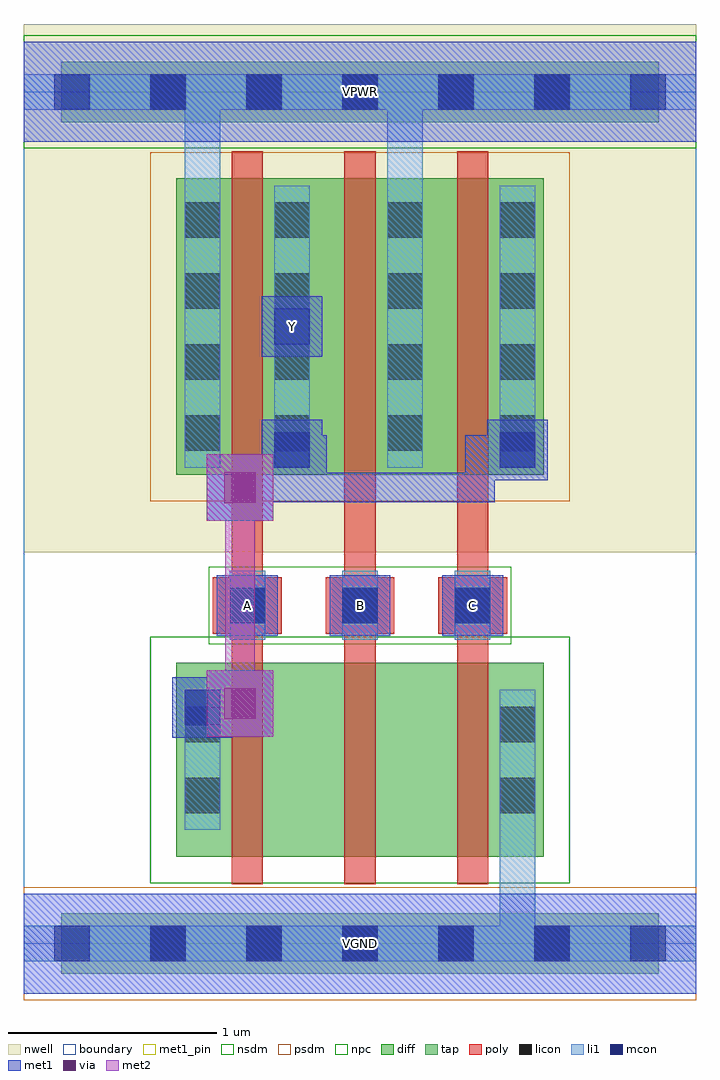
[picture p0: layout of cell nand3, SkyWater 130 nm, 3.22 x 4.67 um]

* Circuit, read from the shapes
.subckt nand3 A B C VGND VPWR Y
XM1 n1 A Y VGND sky130_fd_pr__nfet_01v8 w=0.93 l=0.15
XM2 n2 B n1 VGND sky130_fd_pr__nfet_01v8 w=0.93 l=0.15
XM3 VGND C n2 VGND sky130_fd_pr__nfet_01v8 w=0.93 l=0.15
XM4 Y A VPWR VPWR sky130_fd_pr__pfet_01v8 w=1.42 l=0.15
XM5 VPWR B Y VPWR sky130_fd_pr__pfet_01v8 w=1.42 l=0.15
XM6 Y C VPWR VPWR sky130_fd_pr__pfet_01v8 w=1.42 l=0.15
.ends

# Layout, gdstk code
import gdstk
lib = gdstk.Library(unit=1e-6, precision=1e-09)
def R(c, l, rs):  # rectangles x0, y0, x1, y1
    for r in rs: c.add(gdstk.rectangle(r[:2], r[2:], *l))
def A(c, l, x, y, w, h, nx, ny, dx, dy):  # array of equal rectangles
    R(c, l, [(x+i*dx, y+j*dy, x+i*dx+w, y+j*dy+h) for i in range(nx) for j in range(ny)])
nwell = (64, 20)
diff = (65, 20)
tap = (65, 44)
poly = (66, 20)
licon = (66, 44)
li1 = (67, 20)
mcon = (67, 44)
met1_pin = (68, 16)
met1 = (68, 20)
via = (68, 44)
met2 = (69, 20)
nsdm = (93, 44)
psdm = (94, 20)
npc = (95, 20)
boundary = (235, 4)

nand3 = lib.new_cell('nand3')
R(nand3, nwell, [(0,1.875,3.22,4.405)])
R(nand3, diff, [(0.73,0.415,2.49,1.345), (0.73,2.245,2.49,3.665)])
R(nand3, tap, [(0.18,-0.145,3.04,0.145), (0.18,3.935,3.04,4.225)])
A(nand3, poly, 0.995, 0.285, 0.15, 3.51, 3, 1, 0.54, 0)
A(nand3, poly, 0.905, 1.485, 0.33, 0.27, 3, 1, 0.54, 0)
A(nand3, licon, 0.605, -0.085, 0.17, 0.17, 5, 2, 0.46, 4.08)
A(nand3, licon, 0.985, 1.535, 0.17, 0.17, 3, 1, 0.54, 0)
A(nand3, licon, 0.77, 2.36, 0.17, 0.17, 1, 4, 0, 0.34)
A(nand3, licon, 1.2, 2.36, 0.17, 0.17, 3, 4, 0.54, 0.34)
R(nand3, licon, [(0.77,0.625,0.94,0.795), (2.28,0.625,2.45,0.795), (0.77,0.965,0.94,1.135), (2.28,0.965,2.45,1.135)])
A(nand3, li1, 0.985, 1.455, 0.17, 0.33, 3, 1, 0.54, 0)
A(nand3, li1, 1.2, 2.28, 0.17, 1.35, 3, 1, 0.54, 0)
R(nand3, li1, [(0,-0.085,3.22,0.085), (2.28,-0.085,2.45,1.215), (0.77,0.545,0.94,1.215), (2.28,0.545,2.45,1.215), (0.77,2.28,0.94,3.63), (0.77,2.28,0.94,4.165), (1.74,2.28,1.91,4.165), (0,3.995,3.22,4.165)])
A(nand3, mcon, 0.145, -0.085, 0.17, 0.17, 7, 2, 0.46, 4.08)
A(nand3, mcon, 0.985, 1.535, 0.17, 0.17, 3, 1, 0.54, 0)
R(nand3, mcon, [(0.77,1.045,0.94,1.215), (1.2,2.28,1.37,2.45), (2.28,2.28,2.45,2.45), (1.2,2.87,1.37,3.04)])
A(nand3, met1_pin, 0.925, 1.475, 0.29, 0.29, 3, 1, 0.54, 0)
R(nand3, met1_pin, [(0,-0.24,3.22,0.24), (1.14,2.81,1.43,3.1), (0,3.84,3.22,4.32)])
A(nand3, met1, 0.925, 1.475, 0.29, 0.29, 3, 1, 0.54, 0)
R(nand3, met1, [(0,-0.24,3.22,0.24), (0.71,0.985,1,1.275), (0.875,0.99,1.195,1.31), (0.785,1.06,1.105,1.2), (0.965,1.06,1.105,1.22), (0.875,2.025,1.195,2.345), (0.965,2.115,1.45,2.255), (1.195,2.115,1.31,2.345), (1.31,2.115,1.45,2.435), (1.31,2.115,2.255,2.255), (2.115,2.115,2.255,2.435), (1.14,2.22,1.43,2.51), (2.22,2.22,2.51,2.51), (1.215,2.255,1.45,2.295), (1.215,2.295,1.45,2.435), (2.115,2.295,2.435,2.435), (1.14,2.81,1.43,3.1), (0,3.84,3.22,4.32)])
R(nand3, via, [(0.96,1.075,1.11,1.225), (0.96,2.11,1.11,2.26)])
R(nand3, met2, [(0.875,0.99,1.195,1.31), (0.965,1.08,1.105,2.255), (0.875,2.025,1.195,2.345)])
R(nand3, nsdm, [(0.605,0.29,2.615,1.47), (0,3.81,3.22,4.35)])
R(nand3, psdm, [(0,-0.27,3.22,0.27), (0.605,2.12,2.615,3.79)])
R(nand3, npc, [(0.885,1.435,2.335,1.805)])
R(nand3, boundary, [(0,0,3.22,4.08)])
nand3.add(gdstk.Label('A', (1.07,1.62), layer=68, texttype=5))
nand3.add(gdstk.Label('B', (1.61,1.62), layer=68, texttype=5))
nand3.add(gdstk.Label('C', (2.15,1.62), layer=68, texttype=5))
nand3.add(gdstk.Label('Y', (1.285,2.955), layer=68, texttype=5))
nand3.add(gdstk.Label('VPWR', (1.61,4.08), layer=68, texttype=5))
nand3.add(gdstk.Label('VGND', (1.61,0), layer=68, texttype=5))
nand3.add(gdstk.Label('A', (1.07,1.62), layer=68, texttype=16))
nand3.add(gdstk.Label('B', (1.61,1.62), layer=68, texttype=16))
nand3.add(gdstk.Label('C', (2.15,1.62), layer=68, texttype=16))
nand3.add(gdstk.Label('Y', (1.285,2.955), layer=68, texttype=16))
nand3.add(gdstk.Label('VPWR', (1.61,4.08), layer=68, texttype=16))
nand3.add(gdstk.Label('VGND', (1.61,0), layer=68, texttype=16))

lib.write_gds('nand3.gds')
